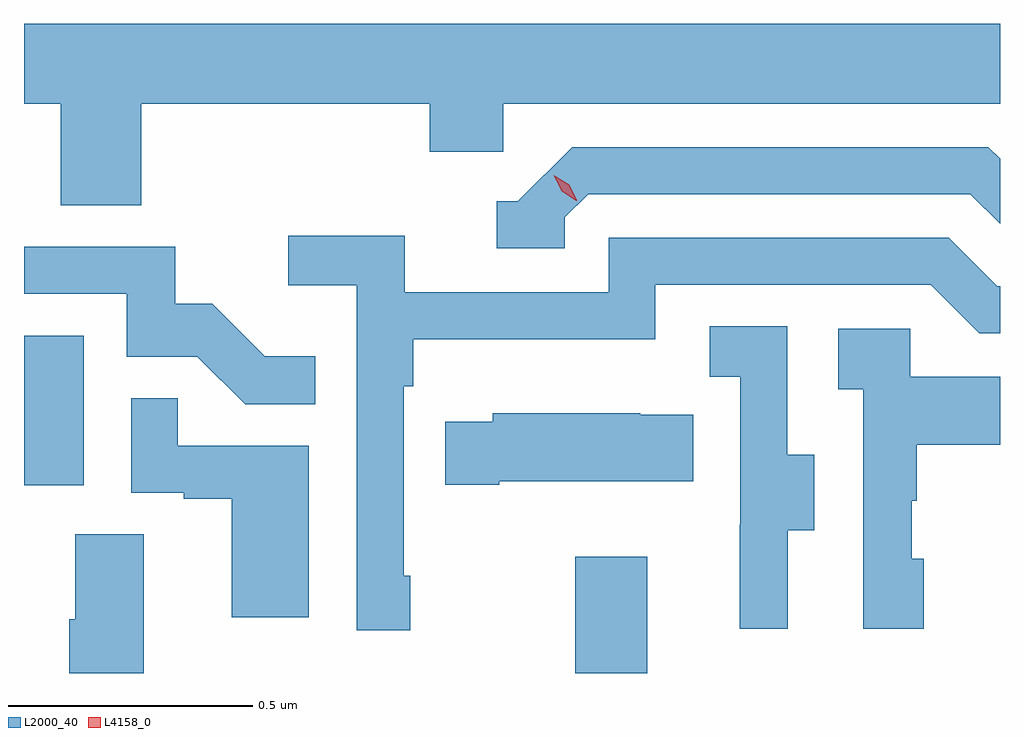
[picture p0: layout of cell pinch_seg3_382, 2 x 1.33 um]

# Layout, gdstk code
import gdstk
lib = gdstk.Library(unit=1e-6, precision=1e-09)
def R(c, l, rs):  # rectangles x0, y0, x1, y1
    for r in rs: c.add(gdstk.rectangle(r[:2], r[2:], *l))
def P(c, l, *ps):  # polygons
    for p in ps: c.add(gdstk.Polygon(p, *l))
L2000_40 = (2000, 40)
L4158_0 = (4158, 0)

pinch_seg3_382 = lib.new_cell('pinch_seg3_382')
R(pinch_seg3_382, L2000_40, [(999.436,699.749,999.583,699.988), (998.306,700.134,998.428,700.441)])
P(pinch_seg3_382, L2000_40, [(998.546,700.916),(999.137,700.916),(999.137,700.818),(999.288,700.818),(999.288,700.916),(1000.306,700.916),(1000.306,701.08),(998.306,701.08),(998.306,700.916),(998.381,700.916),(998.381,700.708),(998.546,700.708)],
  [(999.414,700.683),(999.462,700.731),(1000.245,700.731),(1000.306,700.67),(1000.306,700.803),(1000.282,700.827),(999.429,700.827),(999.318,700.716),(999.275,700.716),(999.275,700.62),(999.414,700.62)],
  [(999.097,699.949),(999.084,699.949),(999.084,700.337),(999.104,700.337),(999.104,700.433),(999.6,700.433),(999.6,700.545),(1000.164,700.545),(1000.263,700.446),(1000.306,700.446),(1000.306,700.542),(1000.3,700.542),(1000.201,700.641),(999.504,700.641),(999.504,700.53),(999.086,700.53),(999.086,700.646),(998.847,700.646),(998.847,700.544),(998.988,700.544),(998.988,699.837),(999.097,699.837)],
  [(998.903,700.399),(998.799,700.399),(998.692,700.506),(998.616,700.506),(998.616,700.623),(998.306,700.623),(998.306,700.527),(998.517,700.527),(998.517,700.398),(998.661,700.398),(998.759,700.3),(998.903,700.3)],
  [(999.871,700.042),(999.925,700.042),(999.925,700.197),(999.87,700.197),(999.87,700.46),(999.711,700.46),(999.711,700.357),(999.774,700.357),(999.774,700.053),(999.773,700.053),(999.773,699.84),(999.871,699.84)],
  [(1000.15,699.984),(1000.125,699.984),(1000.125,700.103),(1000.135,700.103),(1000.135,700.217),(1000.306,700.217),(1000.306,700.357),(1000.122,700.357),(1000.122,700.455),(999.975,700.455),(999.975,700.331),(1000.026,700.331),(1000.026,699.84),(1000.15,699.84)],
  [(998.89,700.215),(998.621,700.215),(998.621,700.313),(998.526,700.313),(998.526,700.119),(998.633,700.119),(998.633,700.107),(998.732,700.107),(998.732,699.864),(998.89,699.864)],
  [(999.28,700.142),(999.677,700.142),(999.677,700.279),(999.569,700.279),(999.569,700.282),(999.267,700.282),(999.267,700.264),(999.169,700.264),(999.169,700.135),(999.28,700.135)],
  [(998.551,700.034),(998.411,700.034),(998.411,699.86),(998.399,699.86),(998.399,699.749),(998.551,699.749)])
P(pinch_seg3_382, L4158_0, [(999.438,700.717),(999.408,700.737),(999.392,700.77),(999.392,700.77),(999.392,700.77),(999.423,700.75),(999.439,700.718),(999.439,700.717)])

lib.write_gds('pinch_seg3_382.gds')
